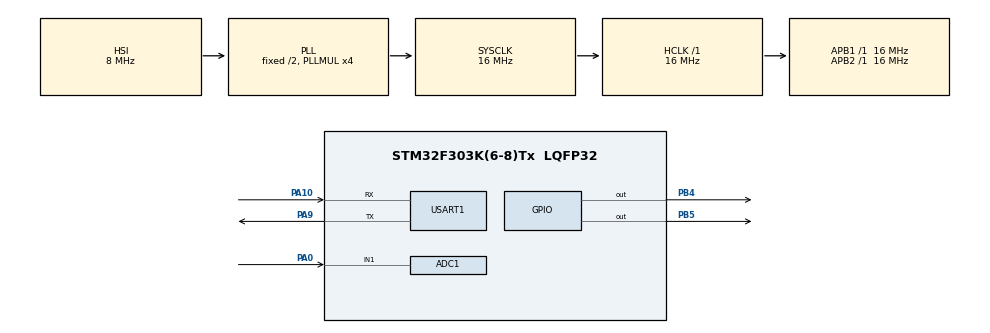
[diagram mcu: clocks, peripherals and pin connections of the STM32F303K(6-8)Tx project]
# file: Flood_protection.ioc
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ADC1.Channel-0\#ChannelRegularConversion=ADC_CHANNEL_1
ADC1.NbrOfConversionFlag=1
ADC1.Offset-0\#ChannelRegularConversion=0
ADC1.OffsetNumber-0\#ChannelRegularConversion=ADC_OFFSET_NONE
ADC1.Rank-0\#ChannelRegularConversion=1
ADC1.Resolution=ADC_RESOLUTION_8B
ADC1.SamplingTime-0\#ChannelRegularConversion=ADC_SAMPLETIME_1CYCLE_5
ADC1.master=1
Mcu.Family=STM32F3
Mcu.Name=STM32F303K(6-8)Tx
Mcu.Package=LQFP32
NVIC.ADC1_2_IRQn=true\:0\:0\:false\:false\:true\:true\:true
NVIC.PriorityGroup=NVIC_PRIORITYGROUP_4
NVIC.TIM6_DAC1_IRQn=true\:0\:0\:false\:false\:true\:true\:true
PA0.Mode=IN1-Single-Ended
PA0.Signal=ADC1_IN1
PA10.Mode=Asynchronous
PA10.Signal=USART1_RX
PA9.Mode=Asynchronous
PA9.Signal=USART1_TX
PB4.Signal=GPIO_Output
PB5.Signal=GPIO_Output
ProjectManager.HeapSize=0x200
ProjectManager.StackSize=0x400
ProjectManager.TargetToolchain=Makefile
RCC.AHBFreq_Value=16000000
RCC.APB1Freq_Value=16000000
RCC.APB1TimFreq_Value=16000000
RCC.APB2Freq_Value=16000000
RCC.APB2TimFreq_Value=16000000
RCC.CortexFreq_Value=16000000
RCC.HCLKFreq_Value=16000000
RCC.HSE_VALUE=8000000
RCC.HSI_VALUE=8000000
RCC.PLLMUL=RCC_PLL_MUL4
RCC.SYSCLKFreq_VALUE=16000000
RCC.SYSCLKSourceVirtual=RCC_SYSCLKSOURCE_PLLCLK
TIM6.Period=250
TIM6.Prescaler=64
USART1.VirtualMode-Asynchronous=VM_ASYNC
VP_TIM6_VS_ClockSourceINT.Mode=Enable_Timer
board=custom

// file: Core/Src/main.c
/* USER CODE BEGIN Header */
/**
  ******************************************************************************
  * @file           : main.c
  * @brief          : Main program body
  ******************************************************************************
  * @attention
  *
  * <h2><center>&copy; Copyright (c) 2021 STMicroelectronics.
  * All rights reserved.</center></h2>
  *
  * This software component is licensed by ST under BSD 3-Clause license,
  * the "License"; You may not use this file except in compliance with the
  * License. You may obtain a copy of the License at:
  *                        opensource.org/licenses/BSD-3-Clause
  *
  ******************************************************************************
  */
/* USER CODE END Header */
#include "main.h"
#include "adc.h"
#include "tim.h"
#include "usart.h"
#include "gpio.h"

void SystemClock_Config(void);

/* USER CODE BEGIN 0 */

int _write(int file , char *ptr , int len){
  HAL_UART_Transmit(&huart1 , ptr , len , 50);
  return len;
}

uint8_t isFlood=0;
uint8_t humidity=0;

void HAL_TIM_PeriodElapsedCallback(TIM_HandleTypeDef* htim){
  humidity = HAL_ADC_GetValue(&hadc1);
  //humidity = (humidity * 100)/255;

  HAL_ADC_Start(&hadc1);
}
/* USER CODE END 0 */

int main(void)
{

  /* MCU Configuration--------------------------------------------------------*/

  /* Reset of all peripherals, Initializes the Flash interface and the Systick. */
  HAL_Init();

  /* Configure the system clock */
  SystemClock_Config();

  /* Initialize all configured peripherals */
  MX_GPIO_Init();
  MX_ADC1_Init();
  MX_TIM6_Init();
  MX_USART1_UART_Init();
  /* USER CODE BEGIN 2 */
  HAL_ADC_Start(&hadc1);

  /* USER CODE END 2 */

  /* Infinite loop */
  /* USER CODE BEGIN WHILE */

  while (1)
  {
    humidity = HAL_ADC_GetValue(&hadc1);
    humidity = (humidity * 100)/127;
    HAL_ADC_Start(&hadc1);

    printf("Adc = %d proc. \r\n", humidity );

  /*  Jeśli czujnik wskazuje wartość powyżej pewnej granicy
      oznacza to, że w pomieszczeniu wylała się woda.
      Należy wyłączyć całą elektrykę w pomieszczeniu. */
    if( humidity >= 70)
      isFlood = 1;
    else
      isFlood = 0;

  // PB5 - czerwony LED
  // PB4 - zielony LED
  // LEDy oznaczają kolejno wyłączony oraz włączony LED.
    if( isFlood){
      HAL_GPIO_WritePin(GPIOB, GPIO_PIN_5 , GPIO_PIN_SET);
      HAL_GPIO_WritePin(GPIOB, GPIO_PIN_4 , GPIO_PIN_RESET);
    }
    else{
      HAL_GPIO_WritePin(GPIOB, GPIO_PIN_5 , GPIO_PIN_RESET);
      HAL_GPIO_WritePin(GPIOB, GPIO_PIN_4 , GPIO_PIN_SET);
    }
    HAL_Delay(200);
    /* USER CODE END WHILE */

  }
}

void SystemClock_Config(void)
{
  RCC_OscInitTypeDef RCC_OscInitStruct = {0};
  RCC_ClkInitTypeDef RCC_ClkInitStruct = {0};
  RCC_PeriphCLKInitTypeDef PeriphClkInit = {0};

  /** Initializes the RCC Oscillators according to the specified parameters
  * in the RCC_OscInitTypeDef structure.
  */
  RCC_OscInitStruct.OscillatorType = RCC_OSCILLATORTYPE_HSI;
  RCC_OscInitStruct.HSIState = RCC_HSI_ON;
  RCC_OscInitStruct.HSICalibrationValue = RCC_HSICALIBRATION_DEFAULT;
  RCC_OscInitStruct.PLL.PLLState = RCC_PLL_ON;
  RCC_OscInitStruct.PLL.PLLSource = RCC_PLLSOURCE_HSI;
  RCC_OscInitStruct.PLL.PLLMUL = RCC_PLL_MUL4;
  if (HAL_RCC_OscConfig(&RCC_OscInitStruct) != HAL_OK)
  {
    Error_Handler();
  }
  /** Initializes the CPU, AHB and APB buses clocks
  */
  RCC_ClkInitStruct.ClockType = RCC_CLOCKTYPE_HCLK|RCC_CLOCKTYPE_SYSCLK
                              |RCC_CLOCKTYPE_PCLK1|RCC_CLOCKTYPE_PCLK2;
  RCC_ClkInitStruct.SYSCLKSource = RCC_SYSCLKSOURCE_PLLCLK;
  RCC_ClkInitStruct.AHBCLKDivider = RCC_SYSCLK_DIV1;
  RCC_ClkInitStruct.APB1CLKDivider = RCC_HCLK_DIV1;
  RCC_ClkInitStruct.APB2CLKDivider = RCC_HCLK_DIV1;

  if (HAL_RCC_ClockConfig(&RCC_ClkInitStruct, FLASH_LATENCY_0) != HAL_OK)
  {
    Error_Handler();
  }
  PeriphClkInit.PeriphClockSelection = RCC_PERIPHCLK_USART1|RCC_PERIPHCLK_ADC12;
  PeriphClkInit.Usart1ClockSelection = RCC_USART1CLKSOURCE_PCLK1;
  PeriphClkInit.Adc12ClockSelection = RCC_ADC12PLLCLK_DIV1;
  if (HAL_RCCEx_PeriphCLKConfig(&PeriphClkInit) != HAL_OK)
  {
    Error_Handler();
  }
}

void Error_Handler(void)
{
  __disable_irq();
  while (1)
  {
  }
}

/************************ (C) COPYRIGHT STMicroelectronics *****END OF FILE****/
